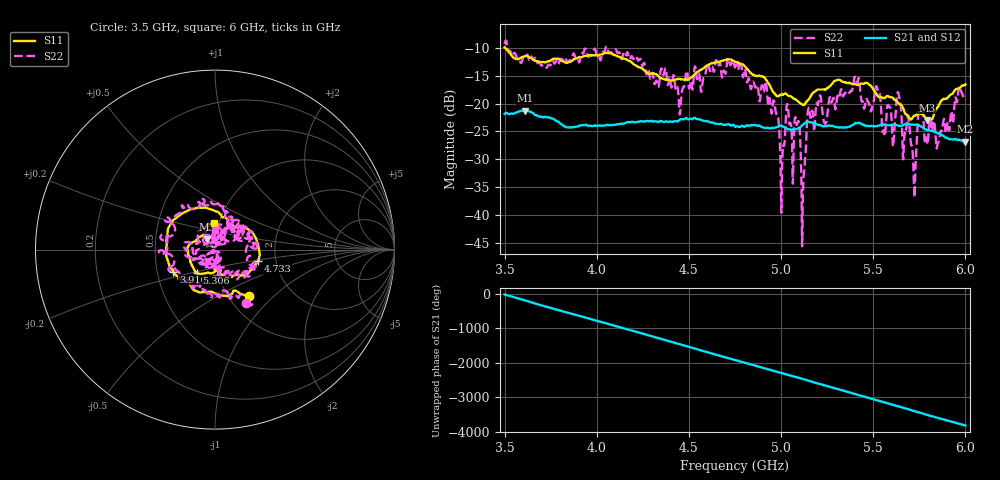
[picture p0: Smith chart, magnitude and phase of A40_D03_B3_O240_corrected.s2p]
! Created with skrf 1.9.0 (http://scikit-rf.org).
# Hz S RI R 50.0
!freq ReS11 ImS11 ReS21 ImS21 ReS12 ImS12 ReS22 ImS22
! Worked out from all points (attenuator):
!   1601 points, 3.5 GHz to 6 GHz, reference 50 ohm
!   highest |S21| = -21.23 dB at 3.611 GHz (marker M1); lowest = -26.9 dB at 5.998 GHz (marker M2)
!   lowest |S11| = -22.9 dB at 5.791 GHz (marker M3), VSWR 1.15, Z = 45.6 + j5.18 ohm
!   |S11| at or under -10 dB: 3.505 GHz to end of sweep
!   |S22| runs from -45.6 to -8.6 dB; largest |S21 - S12| = 0.00096
!   S11 on the Smith chart (normalised r, x): 3.5 GHz: 1.25, -0.71; 3.916 GHz: 0.61, -0.16; 4.733 GHz: 1.61, -0.22; 5.306 GHz: 0.79, -0.21; 6 GHz: 0.94, +0.29
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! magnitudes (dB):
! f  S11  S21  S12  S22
! 3.5 GHz  -9.9  -21.8  -21.8  -9.3
! 3.611 GHz  -11.5  -21.2  -21.2  -11.8
! 3.916 GHz  -11.6  -23.9  -23.9  -11.1
! 3.917 GHz  -11.6  -23.9  -23.9  -10.9
! 4.334 GHz  -15.0  -23.3  -23.2  -17.0
! 4.733 GHz  -12.1  -23.9  -23.9  -12.6
! 4.75 GHz  -12.5  -24.1  -24.0  -13.5
! 4.967 GHz  -18.3  -24.3  -24.2  -20.6
! 5.005 GHz  -18.3  -24.0  -24.0  -32.5
! 5.034 GHz  -18.4  -24.6  -24.5  -20.1
! 5.088 GHz  -19.4  -24.5  -24.5  -23.6
! 5.119 GHz  -20.2  -23.8  -23.7  -35.9
! 5.145 GHz  -19.4  -23.2  -23.2  -21.3
! 5.167 GHz  -18.3  -23.4  -23.4  -21.4
! 5.306 GHz  -15.7  -24.3  -24.2  -18.6
! 5.584 GHz  -18.7  -23.9  -23.8  -20.4
! 5.639 GHz  -20.0  -24.0  -23.9  -18.5
! 5.72 GHz  -22.2  -23.8  -23.7  -34.0
! 5.755 GHz  -21.8  -24.1  -24.0  -20.8
! 5.791 GHz  -22.9  -24.7  -24.7  -26.6
! 5.998 GHz  -16.6  -26.9  -26.8  -19.4
! 6 GHz  -16.6  -26.8  -26.8  -19.3
